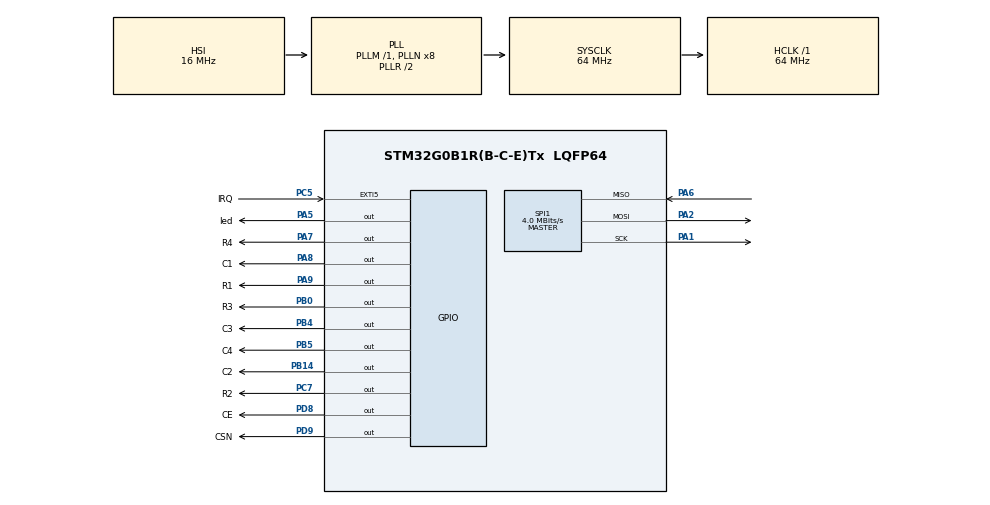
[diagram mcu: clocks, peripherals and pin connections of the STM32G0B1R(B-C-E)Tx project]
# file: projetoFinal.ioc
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Mcu.Family=STM32G0
Mcu.Name=STM32G0B1R(B-C-E)Tx
Mcu.Package=LQFP64
NVIC.TIM2_IRQn=true\:0\:0\:false\:false\:true\:true\:true
PA1.Mode=Full_Duplex_Master
PA1.Signal=SPI1_SCK
PA13.Mode=Serial_Wire
PA13.Signal=SYS_SWDIO
PA14-BOOT0.Mode=Serial_Wire
PA14-BOOT0.Signal=SYS_SWCLK
PA2.Mode=Full_Duplex_Master
PA2.Signal=SPI1_MOSI
PA5.GPIO_Label=led
PA5.Signal=GPIO_Output
PA6.Mode=Full_Duplex_Master
PA6.Signal=SPI1_MISO
PA7.GPIO_Label=R4
PA7.Signal=GPIO_Output
PA8.GPIO_Label=C1
PA8.Signal=GPIO_Output
PA9.GPIO_Label=R1
PA9.Signal=GPIO_Output
PB0.GPIO_Label=R3
PB0.Signal=GPIO_Output
PB14.GPIO_Label=C2
PB14.Signal=GPIO_Output
PB4.GPIO_Label=C3
PB4.Signal=GPIO_Output
PB5.GPIO_Label=C4
PB5.Signal=GPIO_Output
PC5.GPIO_Label=IRQ
PC5.Signal=GPXTI5
PC7.GPIO_Label=R2
PC7.Signal=GPIO_Output
PD8.GPIO_Label=CE
PD8.GPIO_Speed=GPIO_SPEED_FREQ_VERY_HIGH
PD8.PinState=GPIO_PIN_SET
PD8.Signal=GPIO_Output
PD9.GPIO_Label=CSN
PD9.GPIO_Speed=GPIO_SPEED_FREQ_VERY_HIGH
PD9.Signal=GPIO_Output
ProjectManager.HeapSize=0x200
ProjectManager.StackSize=0x400
ProjectManager.TargetToolchain=STM32CubeIDE
RCC.ADCFreq_Value=64000000
RCC.AHBFreq_Value=64000000
RCC.CortexFreq_Value=64000000
RCC.EXTERNAL_CLOCK_VALUE=48000
RCC.HCLKFreq_Value=64000000
RCC.HSE_VALUE=8000000
RCC.HSI48_VALUE=48000000
RCC.HSI_VALUE=16000000
RCC.LSE_VALUE=32768
RCC.SYSCLKFreq_VALUE=64000000
RCC.SYSCLKSource=RCC_SYSCLKSOURCE_PLLCLK
RCC.USBFreq_Value=48000000
RCC.VCOOutputFreq_Value=128000000
SPI1.BaudRatePrescaler=SPI_BAUDRATEPRESCALER_16
SPI1.CalculateBaudRate=4.0 MBits/s
SPI1.Direction=SPI_DIRECTION_2LINES
SPI1.Mode=SPI_MODE_MASTER
SPI1.VirtualType=VM_MASTER
TIM2.Period=999
TIM2.Prescaler=63999
VP_SYS_VS_DBSignals.Mode=DisableDeadBatterySignals
VP_TIM2_VS_ClockSourceINT.Mode=Internal
board=custom

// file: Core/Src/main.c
/* USER CODE BEGIN Header */
/**
  ******************************************************************************
  * @file           : main.c
  * @brief          : Main program body
  ******************************************************************************
  * @attention
  *
  * Copyright (c) 2022 STMicroelectronics.
  * All rights reserved.
  *
  * This software is licensed under terms that can be found in the LICENSE file
  * in the root directory of this software component.
  * If no LICENSE file comes with this software, it is provided AS-IS.
  *
  ******************************************************************************
  */
/* USER CODE END Header */
#include "main.h"

/* USER CODE BEGIN Includes */
#include <stdint.h>

#include "string.h"

#include "nrf24.h"

enum senha{INCORRETA, CORRETA};
/* USER CODE END Includes */

/* USER CODE BEGIN PTD */
	uint8_t row[4] = {0};
	//uint8_t XY[2] = {0};
	uint8_t button = 0, i  = 0, validacao = 0;
	uint8_t senha[4] = {0}, senhaDefinida[4] = {1,2,3,4};
	uint8_t data_array[4];
/* USER CODE END PTD */

SPI_HandleTypeDef hspi1;

TIM_HandleTypeDef htim2;

void SystemClock_Config(void);
static void MX_GPIO_Init(void);
static void MX_SPI1_Init(void);
static void MX_TIM2_Init(void);
/* USER CODE BEGIN PFP */

	void HAL_TIM_PeriodElapsedCallback(TIM_HandleTypeDef *htim){

		 //NRF TRANSMIT -------------------
		  HAL_GPIO_WritePin(led_GPIO_Port, led_Pin, GPIO_PIN_SET);
		  //data_array[0]++;
		  data_array[0] = validacao;
		  nrf24_send(data_array);
		  HAL_GPIO_WritePin(led_GPIO_Port, led_Pin, GPIO_PIN_RESET);

	}

/* USER CODE END PFP */

/* USER CODE BEGIN 0 */
uint8_t tx_address[5] = {0xE7,0xE7,0xE7,0xE7,0xE7};
uint8_t rx_address[5] = {0xD7,0xD7,0xD7,0xD7,0xD7};

/* USER CODE END 0 */

int main(void)
{

  /* MCU Configuration--------------------------------------------------------*/

  /* Reset of all peripherals, Initializes the Flash interface and the Systick. */
  HAL_Init();

  /* Configure the system clock */
  SystemClock_Config();

  /* Initialize all configured peripherals */
  MX_GPIO_Init();
  MX_SPI1_Init();
  MX_TIM2_Init();
  /* USER CODE BEGIN 2 */
  nrf24_init();

  nrf24_config(2, 1);

	nrf24_tx_address(tx_address);
	nrf24_readRegister(TX_ADDR , rx_address, nrf24_ADDR_LEN);
	nrf24_rx_address(rx_address);
	nrf24_readRegister(RX_ADDR_P1 , rx_address, nrf24_ADDR_LEN);

  /* USER CODE END 2 */

  /* Infinite loop */
  /* USER CODE BEGIN WHILE */
  while (1)
  {
	    //MATRIZ 4x4 ---------------------
	  	//for passando pelas 4 linhas
		for(int x = 0; x < 4; x++){

			//se for na linha x
			switch(x){
				//verifica linha 0
				case 0:
					row[0] = 1;
					row[3] = 0;
					break;
				//verifica linha 1
				case 1:
					row[1] = 1;
					row[0] = 0;
					break;
				//verifica linha 2
				case 2:
					row[2] = 1;
					row[1] = 0;
					break;
				//verifica linha 3
				case 3:
					row[3] = 1;
					row[2] = 0;
					break;
				default:
				break;

			}

			//ativa linha de acordo com o switch acima;
			HAL_GPIO_WritePin(R1_GPIO_Port, R1_Pin, row[0]);
			HAL_GPIO_WritePin(R2_GPIO_Port, R2_Pin, row[1]);
			HAL_GPIO_WritePin(R3_GPIO_Port, R3_Pin, row[2]);
			HAL_GPIO_WritePin(R4_GPIO_Port, R4_Pin, row[3]);

			//testa as coluna da linha selecionada;
			if (HAL_GPIO_ReadPin(C1_GPIO_Port, C1_Pin)) {
				button = x*4;
				i++;
				while(HAL_GPIO_ReadPin(C1_GPIO_Port, C1_Pin));
			}
			else if(HAL_GPIO_ReadPin(C2_GPIO_Port, C2_Pin)){
				button = 1+x*4;
				i++;
				while(HAL_GPIO_ReadPin(C2_GPIO_Port, C2_Pin));
			}
			else if(HAL_GPIO_ReadPin(C3_GPIO_Port, C3_Pin)){
				button = 2+x*4;
				i++;
				while(HAL_GPIO_ReadPin(C3_GPIO_Port, C3_Pin));
			}
			else if(HAL_GPIO_ReadPin(C4_GPIO_Port, C4_Pin)){
				button = 3+x*4;
				i++;
				while(HAL_GPIO_ReadPin(C4_GPIO_Port, C4_Pin));
			}
		}

		senha[i-1] = button;

		//se tiver 4 digitos
		if(i == 4){

			uint8_t verifica[4] = {0};

			//roda por cada digito comparando com a senhaDefinida;
			for (int cont = 0; cont < 4; cont++) {

				if (senha[cont] == senhaDefinida[cont]) {
					verifica[cont] = CORRETA;
				}else verifica[cont] = INCORRETA;
			}

			validacao = (verifica[0]*verifica[1]*verifica[2]*verifica[3]);

			i = 0;
		}

    /* USER CODE END WHILE */

  }
}

void SystemClock_Config(void)
{
  RCC_OscInitTypeDef RCC_OscInitStruct = {0};
  RCC_ClkInitTypeDef RCC_ClkInitStruct = {0};

  /** Configure the main internal regulator output voltage
  */
  HAL_PWREx_ControlVoltageScaling(PWR_REGULATOR_VOLTAGE_SCALE1);
  /** Initializes the RCC Oscillators according to the specified parameters
  * in the RCC_OscInitTypeDef structure.
  */
  RCC_OscInitStruct.OscillatorType = RCC_OSCILLATORTYPE_HSI;
  RCC_OscInitStruct.HSIState = RCC_HSI_ON;
  RCC_OscInitStruct.HSIDiv = RCC_HSI_DIV1;
  RCC_OscInitStruct.HSICalibrationValue = RCC_HSICALIBRATION_DEFAULT;
  RCC_OscInitStruct.PLL.PLLState = RCC_PLL_ON;
  RCC_OscInitStruct.PLL.PLLSource = RCC_PLLSOURCE_HSI;
  RCC_OscInitStruct.PLL.PLLM = RCC_PLLM_DIV1;
  RCC_OscInitStruct.PLL.PLLN = 8;
  RCC_OscInitStruct.PLL.PLLP = RCC_PLLP_DIV2;
  RCC_OscInitStruct.PLL.PLLQ = RCC_PLLQ_DIV2;
  RCC_OscInitStruct.PLL.PLLR = RCC_PLLR_DIV2;
  if (HAL_RCC_OscConfig(&RCC_OscInitStruct) != HAL_OK)
  {
    Error_Handler();
  }
  /** Initializes the CPU, AHB and APB buses clocks
  */
  RCC_ClkInitStruct.ClockType = RCC_CLOCKTYPE_HCLK|RCC_CLOCKTYPE_SYSCLK
                              |RCC_CLOCKTYPE_PCLK1;
  RCC_ClkInitStruct.SYSCLKSource = RCC_SYSCLKSOURCE_PLLCLK;
  RCC_ClkInitStruct.AHBCLKDivider = RCC_SYSCLK_DIV1;
  RCC_ClkInitStruct.APB1CLKDivider = RCC_HCLK_DIV1;

  if (HAL_RCC_ClockConfig(&RCC_ClkInitStruct, FLASH_LATENCY_2) != HAL_OK)
  {
    Error_Handler();
  }
}

static void MX_SPI1_Init(void)
{

  /* SPI1 parameter configuration*/
  hspi1.Instance = SPI1;
  hspi1.Init.Mode = SPI_MODE_MASTER;
  hspi1.Init.Direction = SPI_DIRECTION_2LINES;
  hspi1.Init.DataSize = SPI_DATASIZE_8BIT;
  hspi1.Init.CLKPolarity = SPI_POLARITY_LOW;
  hspi1.Init.CLKPhase = SPI_PHASE_1EDGE;
  hspi1.Init.NSS = SPI_NSS_SOFT;
  hspi1.Init.BaudRatePrescaler = SPI_BAUDRATEPRESCALER_16;
  hspi1.Init.FirstBit = SPI_FIRSTBIT_MSB;
  hspi1.Init.TIMode = SPI_TIMODE_DISABLE;
  hspi1.Init.CRCCalculation = SPI_CRCCALCULATION_DISABLE;
  hspi1.Init.CRCPolynomial = 7;
  hspi1.Init.CRCLength = SPI_CRC_LENGTH_DATASIZE;
  hspi1.Init.NSSPMode = SPI_NSS_PULSE_ENABLE;
  if (HAL_SPI_Init(&hspi1) != HAL_OK)
  {
    Error_Handler();
  }

}

static void MX_TIM2_Init(void)
{

  TIM_ClockConfigTypeDef sClockSourceConfig = {0};
  TIM_MasterConfigTypeDef sMasterConfig = {0};

  htim2.Instance = TIM2;
  htim2.Init.Prescaler = 63999;
  htim2.Init.CounterMode = TIM_COUNTERMODE_UP;
  htim2.Init.Period = 999;
  htim2.Init.ClockDivision = TIM_CLOCKDIVISION_DIV1;
  htim2.Init.AutoReloadPreload = TIM_AUTORELOAD_PRELOAD_DISABLE;
  if (HAL_TIM_Base_Init(&htim2) != HAL_OK)
  {
    Error_Handler();
  }
  sClockSourceConfig.ClockSource = TIM_CLOCKSOURCE_INTERNAL;
  if (HAL_TIM_ConfigClockSource(&htim2, &sClockSourceConfig) != HAL_OK)
  {
    Error_Handler();
  }
  sMasterConfig.MasterOutputTrigger = TIM_TRGO_RESET;
  sMasterConfig.MasterSlaveMode = TIM_MASTERSLAVEMODE_DISABLE;
  if (HAL_TIMEx_MasterConfigSynchronization(&htim2, &sMasterConfig) != HAL_OK)
  {
    Error_Handler();
  }

}

static void MX_GPIO_Init(void)
{
  GPIO_InitTypeDef GPIO_InitStruct = {0};

  /* GPIO Ports Clock Enable */
  __HAL_RCC_GPIOA_CLK_ENABLE();
  __HAL_RCC_GPIOC_CLK_ENABLE();
  __HAL_RCC_GPIOB_CLK_ENABLE();
  __HAL_RCC_GPIOD_CLK_ENABLE();

  /*Configure GPIO pin Output Level */
  HAL_GPIO_WritePin(GPIOA, led_Pin|R4_Pin|C1_Pin|R1_Pin, GPIO_PIN_RESET);

  /*Configure GPIO pin Output Level */
  HAL_GPIO_WritePin(GPIOB, R3_Pin|C2_Pin|C3_Pin|C4_Pin, GPIO_PIN_RESET);

  /*Configure GPIO pin Output Level */
  HAL_GPIO_WritePin(R2_GPIO_Port, R2_Pin, GPIO_PIN_RESET);

  /*Configure GPIO pin Output Level */
  HAL_GPIO_WritePin(CE_GPIO_Port, CE_Pin, GPIO_PIN_SET);

  /*Configure GPIO pin Output Level */
  HAL_GPIO_WritePin(CSN_GPIO_Port, CSN_Pin, GPIO_PIN_RESET);

  /*Configure GPIO pins : led_Pin R4_Pin C1_Pin R1_Pin */
  GPIO_InitStruct.Pin = led_Pin|R4_Pin|C1_Pin|R1_Pin;
  GPIO_InitStruct.Mode = GPIO_MODE_OUTPUT_PP;
  GPIO_InitStruct.Pull = GPIO_NOPULL;
  GPIO_InitStruct.Speed = GPIO_SPEED_FREQ_LOW;
  HAL_GPIO_Init(GPIOA, &GPIO_InitStruct);

  /*Configure GPIO pin : IRQ_Pin */
  GPIO_InitStruct.Pin = IRQ_Pin;
  GPIO_InitStruct.Mode = GPIO_MODE_IT_RISING;
  GPIO_InitStruct.Pull = GPIO_NOPULL;
  HAL_GPIO_Init(IRQ_GPIO_Port, &GPIO_InitStruct);

  /*Configure GPIO pins : R3_Pin C2_Pin C3_Pin C4_Pin */
  GPIO_InitStruct.Pin = R3_Pin|C2_Pin|C3_Pin|C4_Pin;
  GPIO_InitStruct.Mode = GPIO_MODE_OUTPUT_PP;
  GPIO_InitStruct.Pull = GPIO_NOPULL;
  GPIO_InitStruct.Speed = GPIO_SPEED_FREQ_LOW;
  HAL_GPIO_Init(GPIOB, &GPIO_InitStruct);

  /*Configure GPIO pin : R2_Pin */
  GPIO_InitStruct.Pin = R2_Pin;
  GPIO_InitStruct.Mode = GPIO_MODE_OUTPUT_PP;
  GPIO_InitStruct.Pull = GPIO_NOPULL;
  GPIO_InitStruct.Speed = GPIO_SPEED_FREQ_LOW;
  HAL_GPIO_Init(R2_GPIO_Port, &GPIO_InitStruct);

  /*Configure GPIO pins : CE_Pin CSN_Pin */
  GPIO_InitStruct.Pin = CE_Pin|CSN_Pin;
  GPIO_InitStruct.Mode = GPIO_MODE_OUTPUT_PP;
  GPIO_InitStruct.Pull = GPIO_NOPULL;
  GPIO_InitStruct.Speed = GPIO_SPEED_FREQ_VERY_HIGH;
  HAL_GPIO_Init(GPIOD, &GPIO_InitStruct);

}

void Error_Handler(void)
{
  __disable_irq();
  while (1)
  {
  }
}
